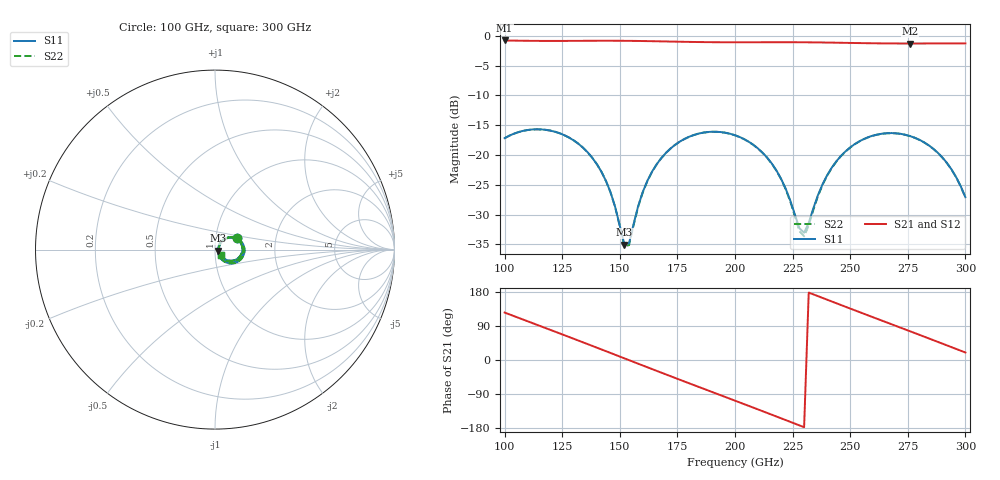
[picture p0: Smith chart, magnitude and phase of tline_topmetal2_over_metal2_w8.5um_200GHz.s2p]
#  GHZ S DB R 50
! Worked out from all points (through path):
!   101 points, 100 GHz to 300 GHz, reference 50 ohm
!   highest |S21| = -0.76 dB at 100 GHz (marker M1); lowest = -1.3 dB at 276 GHz (marker M2)
!   group delay of S21, straight-line fit = 6.47 ps
!   lowest |S11| = -35.1 dB at 152 GHz (marker M3), VSWR 1.04, Z = 51.7 - j0.625 ohm
!   |S11| at or under -10 dB: start of sweep to end of sweep
!   |S22| runs from -35.3 to -15.7 dB; largest |S21 - S12| = 1e-13
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100  -17.17 26.9  -0.76 125.2  -0.76 125.2  -17.18 26.9
116  -15.70 -5.9  -0.84 88.4  -0.84 88.4  -15.70 -6.0
124  -16.36 -22.2  -0.84 69.9  -0.84 69.9  -16.36 -22.4
134  -18.76 -41.8  -0.82 46.7  -0.82 46.7  -18.76 -42.1
144  -24.36 -56.3  -0.81 23.2  -0.81 23.2  -24.36 -56.9
152  -35.05 -20.0  -0.82 4.3  -0.82 4.3  -35.31 -21.3
154  -34.83 19.1  -0.83 -0.4  -0.83 -0.4  -35.13 19.3
158  -28.54 50.2  -0.85 -9.8  -0.85 -9.8  -28.64 50.8
162  -24.30 51.9  -0.87 -19.3  -0.87 -19.3  -24.35 52.2
168  -20.52 44.4  -0.91 -33.3  -0.91 -33.3  -20.54 44.5
184  -16.42 14.2  -1.03 -70.4  -1.03 -70.4  -16.43 14.1
200  -16.68 -17.6  -1.07 -107.3  -1.07 -107.3  -16.69 -17.9
216  -21.44 -45.1  -1.06 -144.5  -1.06 -144.5  -21.48 -45.9
230  -33.05 6.5  -1.07 -177.4  -1.07 -177.4  -33.65 6.7
234  -28.95 42.3  -1.08 173.2  -1.08 173.2  -29.20 44.1
240  -23.38 48.4  -1.11 159.1  -1.11 159.1  -23.46 49.6
248  -19.37 38.4  -1.16 140.4  -1.16 140.4  -19.41 39.1
258  -16.98 20.2  -1.23 117.3  -1.23 117.3  -17.00 20.6
268  -16.31 0.7  -1.26 94.2  -1.26 94.2  -16.33 1.0
276  -16.82 -14.9  -1.27 75.8  -1.27 75.8  -16.83 -14.6
290  -20.41 -39.3  -1.26 43.2  -1.26 43.2  -20.43 -39.2
300  -27.09 -42.7  -1.26 19.8  -1.26 19.8  -27.14 -42.9
